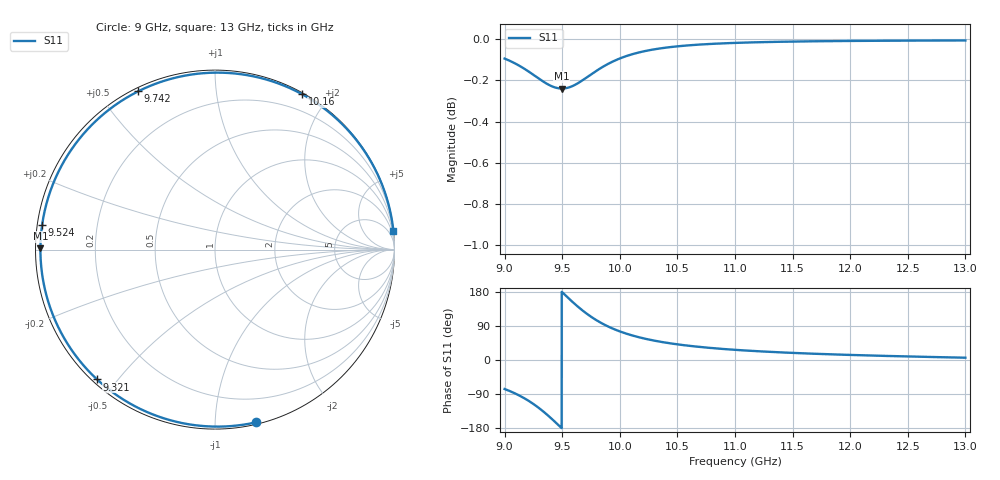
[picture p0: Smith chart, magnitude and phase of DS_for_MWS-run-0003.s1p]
! TOUCHSTONE file generated by CST DESIGN STUDIO
! Date and time: Tue Feb  4 17:21:21 2025
! Project name: C:\Work\MatlabApps\UnitCellOptimizationMatlab\CST\unitcell.cst
! Tree item: Tasks\Sweep1\SPara1\S-Parameters
! Header version: 2024
! Port assignment regex: !\s*Touchstone port\s*([0-9]+)\s*=\s*(CST MWS port|CST DES external port|CST DES block port)\s*(.+)\s* \(\"(.*)\"\)(\s*mode\s*([0-9]+))?.*
! Touchstone port assignment:
! Touchstone port 1 = CST DES external port 1 ("")
# GHz S MA R 50
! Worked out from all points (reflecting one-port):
!   4001 points, 9 GHz to 13 GHz, reference 50 ohm
!   lowest |S11| = -0.2 dB at 9.497 GHz (marker M1), VSWR 72.47, Z = 0.69 + j0.171 ohm
!   phase of S11 starts at -77 deg and turns -277 deg over the sweep
!   S11 on the Smith chart (normalised r, x): 9 GHz: 0.01, -1.27; 9.321 GHz: 0.01, -0.44; 9.524 GHz: 0.01, +0.07; 9.742 GHz: 0.01, +0.63; 10.16 GHz: 0.01, +1.71; 13 GHz: 0, +19
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9  0.9892 -76.6
9.083  0.9868 -87.1
9.184  0.9831 -103.2
9.255  0.9801 -117.2
9.321  0.9772 -132.2
9.368  0.9753 -144.1
9.417  0.9738 -157.5
9.458  0.973 -169.1
9.497  0.9728 179.6
9.5  0.9728 178.7
9.524  0.9729 171.8
9.578  0.9738 156.4
9.638  0.9758 140.3
9.689  0.9778 127.7
9.742  0.9801 115.9
9.795  0.9824 105.4
9.853  0.9847 95.4
9.926  0.9872 84.6
10  0.9893 75.5
10.157  0.9925 60.7
10.313  0.9945 50.3
10.5  0.996 41.3
10.722  0.9971 33.6
11  0.998 26.8
11.5  0.9987 18.7
12  0.999 13.4
12.5  0.9992 9.3
13  0.9993 6.1
